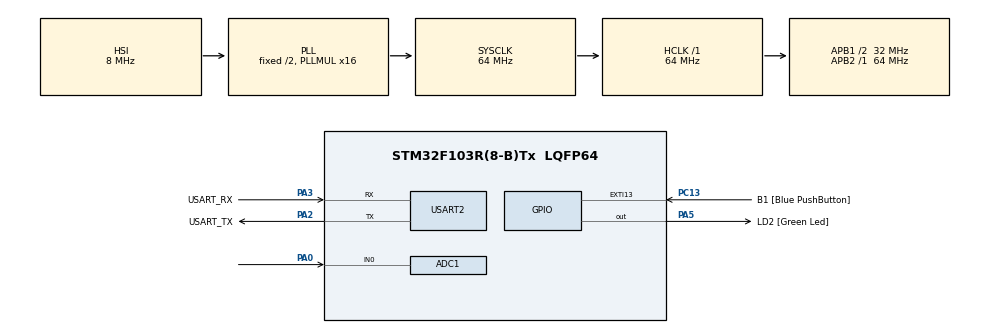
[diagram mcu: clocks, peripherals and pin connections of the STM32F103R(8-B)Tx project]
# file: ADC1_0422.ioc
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ADC1.Channel-1\#ChannelRegularConversion=ADC_CHANNEL_0
ADC1.ContinuousConvMode=ENABLE
ADC1.NbrOfConversionFlag=1
ADC1.Rank-1\#ChannelRegularConversion=1
ADC1.SamplingTime-1\#ChannelRegularConversion=ADC_SAMPLETIME_239CYCLES_5
ADC1.master=1
Mcu.Family=STM32F1
Mcu.Name=STM32F103R(8-B)Tx
Mcu.Package=LQFP64
NVIC.EXTI15_10_IRQn=true\:0\:0\:false\:false\:true\:true\:true\:true
NVIC.PriorityGroup=NVIC_PRIORITYGROUP_4
PA0-WKUP.Signal=ADCx_IN0
PA13.GPIO_Label=TMS
PA13.Mode=Serial_Wire
PA13.Signal=SYS_JTMS-SWDIO
PA14.GPIO_Label=TCK
PA14.Mode=Serial_Wire
PA14.Signal=SYS_JTCK-SWCLK
PA2.GPIO_Label=USART_TX
PA2.GPIO_Mode=GPIO_MODE_AF_PP
PA2.GPIO_PuPd=GPIO_NOPULL
PA2.GPIO_Speed=GPIO_SPEED_FREQ_LOW
PA2.Mode=Asynchronous
PA2.Signal=USART2_TX
PA3.GPIO_Label=USART_RX
PA3.GPIO_Mode=GPIO_MODE_AF_PP
PA3.GPIO_PuPd=GPIO_NOPULL
PA3.GPIO_Speed=GPIO_SPEED_FREQ_LOW
PA3.Mode=Asynchronous
PA3.Signal=USART2_RX
PA5.GPIO_Label=LD2 [Green Led]
PA5.GPIO_ModeDefaultOutputPP=GPIO_MODE_OUTPUT_PP
PA5.GPIO_PuPd=GPIO_NOPULL
PA5.GPIO_Speed=GPIO_SPEED_FREQ_LOW
PA5.Signal=GPIO_Output
PB3.GPIO_Label=SWO
PB3.Signal=SYS_JTDO-TRACESWO
PC13-TAMPER-RTC.GPIO_Label=B1 [Blue PushButton]
PC13-TAMPER-RTC.GPIO_PuPd=GPIO_NOPULL
PC13-TAMPER-RTC.Signal=GPXTI13
PC14-OSC32_IN.Mode=LSE-External-Oscillator
PC14-OSC32_IN.Signal=RCC_OSC32_IN
PC15-OSC32_OUT.Mode=LSE-External-Oscillator
PC15-OSC32_OUT.Signal=RCC_OSC32_OUT
PD0-OSC_IN.Mode=HSE-External-Clock-Source
PD0-OSC_IN.Signal=RCC_OSC_IN
PD1-OSC_OUT.Mode=HSE-External-Clock-Source
PD1-OSC_OUT.Signal=RCC_OSC_OUT
ProjectManager.HeapSize=0x200
ProjectManager.StackSize=0x400
ProjectManager.TargetToolchain=STM32CubeIDE
RCC.ADCPresc=RCC_ADCPCLK2_DIV8
RCC.AHBFreq_Value=64000000
RCC.APB1CLKDivider=RCC_HCLK_DIV2
RCC.APB1Freq_Value=32000000
RCC.APB1TimFreq_Value=64000000
RCC.APB2Freq_Value=64000000
RCC.APB2TimFreq_Value=64000000
RCC.HCLKFreq_Value=64000000
RCC.PLLMUL=RCC_PLL_MUL16
RCC.RTCClockSelection=RCC_RTCCLKSOURCE_LSE
RCC.SYSCLKFreq_VALUE=64000000
RCC.SYSCLKSource=RCC_SYSCLKSOURCE_PLLCLK
RCC.USBFreq_Value=64000000
SH.ADCx_IN0.0=ADC1_IN0,IN0
USART2.VirtualMode=VM_ASYNC
board=NUCLEO-F103RB

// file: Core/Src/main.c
/* USER CODE BEGIN Header */
/**
  ******************************************************************************
  * @file           : main.c
  * @brief          : Main program body
  ******************************************************************************
  * @attention
  *
  * Copyright (c) 2022 STMicroelectronics.
  * All rights reserved.
  *
  * This software is licensed under terms that can be found in the LICENSE file
  * in the root directory of this software component.
  * If no LICENSE file comes with this software, it is provided AS-IS.
  *
  ******************************************************************************
  */
/* USER CODE END Header */
#include "main.h"

/* USER CODE BEGIN Includes */
#include "stdio.h"
/* USER CODE END Includes */

 ADC_HandleTypeDef hadc1;

UART_HandleTypeDef huart2;

void SystemClock_Config(void);
static void MX_GPIO_Init(void);
static void MX_USART2_UART_Init(void);
static void MX_ADC1_Init(void);
/* USER CODE BEGIN PFP */
#ifdef __GNUC__
/* With GCC, small printf (option LD Linker->Libraries->Small printf
   set to 'Yes') calls __io_putchar() */
#define PUTCHAR_PROTOTYPE int __io_putchar(int ch)
#else
#define PUTCHAR_PROTOTYPE int fputc(int ch, FILE *f)
#endif /* __GNUC__ */

PUTCHAR_PROTOTYPE
{
  /* Place your implementation of fputc here */
  /* e.g. write a character to the USART1 and Loop until the end of transmission */
  HAL_UART_Transmit(&huart2, (uint8_t *)&ch, 1, 0xFFFF);

  return ch;
}

/* USER CODE END PFP */

/* USER CODE BEGIN 0 */
	uint32_t ADC_value;
/* USER CODE END 0 */

int main(void)
{

  /* MCU Configuration--------------------------------------------------------*/

  /* Reset of all peripherals, Initializes the Flash interface and the Systick. */
  HAL_Init();

  /* Configure the system clock */
  SystemClock_Config();

  /* Initialize all configured peripherals */
  MX_GPIO_Init();
  MX_USART2_UART_Init();
  MX_ADC1_Init();

  /* Infinite loop */
  /* USER CODE BEGIN WHILE */
  while (1)
  {
	  HAL_ADC_Start(&hadc1);
	  HAL_ADC_PollForConversion(&hadc1, 10);
	  ADC_value = HAL_ADC_GetValue(&hadc1);
	  printf("ADC Value = %ld\n\r", ADC_value);
	  HAL_Delay(1000);

    /* USER CODE END WHILE */

  }
}

void SystemClock_Config(void)
{
  RCC_OscInitTypeDef RCC_OscInitStruct = {0};
  RCC_ClkInitTypeDef RCC_ClkInitStruct = {0};
  RCC_PeriphCLKInitTypeDef PeriphClkInit = {0};

  /** Initializes the RCC Oscillators according to the specified parameters
  * in the RCC_OscInitTypeDef structure.
  */
  RCC_OscInitStruct.OscillatorType = RCC_OSCILLATORTYPE_HSI;
  RCC_OscInitStruct.HSIState = RCC_HSI_ON;
  RCC_OscInitStruct.HSICalibrationValue = RCC_HSICALIBRATION_DEFAULT;
  RCC_OscInitStruct.PLL.PLLState = RCC_PLL_ON;
  RCC_OscInitStruct.PLL.PLLSource = RCC_PLLSOURCE_HSI_DIV2;
  RCC_OscInitStruct.PLL.PLLMUL = RCC_PLL_MUL16;
  if (HAL_RCC_OscConfig(&RCC_OscInitStruct) != HAL_OK)
  {
    Error_Handler();
  }

  /** Initializes the CPU, AHB and APB buses clocks
  */
  RCC_ClkInitStruct.ClockType = RCC_CLOCKTYPE_HCLK|RCC_CLOCKTYPE_SYSCLK
                              |RCC_CLOCKTYPE_PCLK1|RCC_CLOCKTYPE_PCLK2;
  RCC_ClkInitStruct.SYSCLKSource = RCC_SYSCLKSOURCE_PLLCLK;
  RCC_ClkInitStruct.AHBCLKDivider = RCC_SYSCLK_DIV1;
  RCC_ClkInitStruct.APB1CLKDivider = RCC_HCLK_DIV2;
  RCC_ClkInitStruct.APB2CLKDivider = RCC_HCLK_DIV1;

  if (HAL_RCC_ClockConfig(&RCC_ClkInitStruct, FLASH_LATENCY_2) != HAL_OK)
  {
    Error_Handler();
  }
  PeriphClkInit.PeriphClockSelection = RCC_PERIPHCLK_ADC;
  PeriphClkInit.AdcClockSelection = RCC_ADCPCLK2_DIV8;
  if (HAL_RCCEx_PeriphCLKConfig(&PeriphClkInit) != HAL_OK)
  {
    Error_Handler();
  }
}

static void MX_ADC1_Init(void)
{

  ADC_ChannelConfTypeDef sConfig = {0};

  /** Common config
  */
  hadc1.Instance = ADC1;
  hadc1.Init.ScanConvMode = ADC_SCAN_DISABLE;
  hadc1.Init.ContinuousConvMode = ENABLE;
  hadc1.Init.DiscontinuousConvMode = DISABLE;
  hadc1.Init.ExternalTrigConv = ADC_SOFTWARE_START;
  hadc1.Init.DataAlign = ADC_DATAALIGN_RIGHT;
  hadc1.Init.NbrOfConversion = 1;
  if (HAL_ADC_Init(&hadc1) != HAL_OK)
  {
    Error_Handler();
  }

  /** Configure Regular Channel
  */
  sConfig.Channel = ADC_CHANNEL_0;
  sConfig.Rank = ADC_REGULAR_RANK_1;
  sConfig.SamplingTime = ADC_SAMPLETIME_239CYCLES_5;
  if (HAL_ADC_ConfigChannel(&hadc1, &sConfig) != HAL_OK)
  {
    Error_Handler();
  }

}

static void MX_USART2_UART_Init(void)
{

  huart2.Instance = USART2;
  huart2.Init.BaudRate = 115200;
  huart2.Init.WordLength = UART_WORDLENGTH_8B;
  huart2.Init.StopBits = UART_STOPBITS_1;
  huart2.Init.Parity = UART_PARITY_NONE;
  huart2.Init.Mode = UART_MODE_TX_RX;
  huart2.Init.HwFlowCtl = UART_HWCONTROL_NONE;
  huart2.Init.OverSampling = UART_OVERSAMPLING_16;
  if (HAL_UART_Init(&huart2) != HAL_OK)
  {
    Error_Handler();
  }

}

static void MX_GPIO_Init(void)
{
  GPIO_InitTypeDef GPIO_InitStruct = {0};

  /* GPIO Ports Clock Enable */
  __HAL_RCC_GPIOC_CLK_ENABLE();
  __HAL_RCC_GPIOD_CLK_ENABLE();
  __HAL_RCC_GPIOA_CLK_ENABLE();
  __HAL_RCC_GPIOB_CLK_ENABLE();

  /*Configure GPIO pin Output Level */
  HAL_GPIO_WritePin(LD2_GPIO_Port, LD2_Pin, GPIO_PIN_RESET);

  /*Configure GPIO pin : B1_Pin */
  GPIO_InitStruct.Pin = B1_Pin;
  GPIO_InitStruct.Mode = GPIO_MODE_IT_RISING;
  GPIO_InitStruct.Pull = GPIO_NOPULL;
  HAL_GPIO_Init(B1_GPIO_Port, &GPIO_InitStruct);

  /*Configure GPIO pin : LD2_Pin */
  GPIO_InitStruct.Pin = LD2_Pin;
  GPIO_InitStruct.Mode = GPIO_MODE_OUTPUT_PP;
  GPIO_InitStruct.Pull = GPIO_NOPULL;
  GPIO_InitStruct.Speed = GPIO_SPEED_FREQ_LOW;
  HAL_GPIO_Init(LD2_GPIO_Port, &GPIO_InitStruct);

  /* EXTI interrupt init*/
  HAL_NVIC_SetPriority(EXTI15_10_IRQn, 0, 0);
  HAL_NVIC_EnableIRQ(EXTI15_10_IRQn);

}

void Error_Handler(void)
{
  __disable_irq();
  while (1)
  {
  }
}
